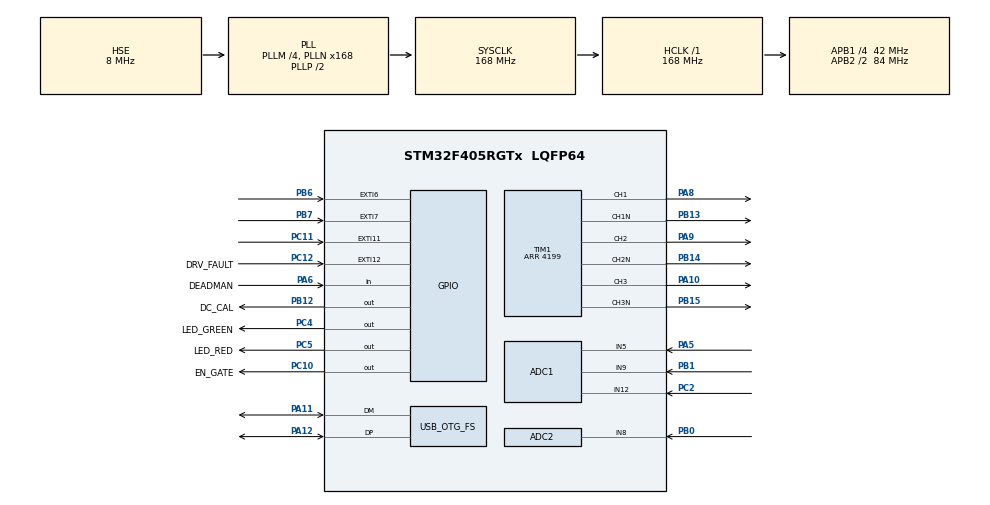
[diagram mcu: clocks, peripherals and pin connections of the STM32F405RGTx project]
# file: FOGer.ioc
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ADC1.Channel-0\#ChannelRegularConversion=ADC_CHANNEL_5
ADC1.Channel-1\#ChannelInjectedConversion=ADC_CHANNEL_9
ADC1.Channel-3\#ChannelRegularConversion=ADC_CHANNEL_12
ADC1.ExternalTrigInjecConv=ADC_EXTERNALTRIGINJECCONV_T1_CC4
ADC1.InjNumberOfConversion=1
ADC1.InjectedOffset-1\#ChannelInjectedConversion=0
ADC1.InjectedRank-1\#ChannelInjectedConversion=1
ADC1.NbrOfConversion=2
ADC1.NbrOfConversionFlag=1
ADC1.Rank-0\#ChannelRegularConversion=1
ADC1.Rank-3\#ChannelRegularConversion=2
ADC1.SamplingTime-0\#ChannelRegularConversion=ADC_SAMPLETIME_84CYCLES
ADC1.SamplingTime-1\#ChannelInjectedConversion=ADC_SAMPLETIME_15CYCLES
ADC1.SamplingTime-3\#ChannelRegularConversion=ADC_SAMPLETIME_84CYCLES
ADC1.master=1
ADC2.Channel-0\#ChannelRegularConversion=ADC_CHANNEL_8
ADC2.Channel-1\#ChannelInjectedConversion=ADC_CHANNEL_8
ADC2.ExternalTrigInjecConv=ADC_EXTERNALTRIGINJECCONV_T1_CC4
ADC2.InjNumberOfConversion=1
ADC2.InjectedOffset-1\#ChannelInjectedConversion=0
ADC2.InjectedRank-1\#ChannelInjectedConversion=1
ADC2.NbrOfConversionFlag=1
ADC2.Rank-0\#ChannelRegularConversion=1
ADC2.SamplingTime-0\#ChannelRegularConversion=ADC_SAMPLETIME_3CYCLES
ADC2.SamplingTime-1\#ChannelInjectedConversion=ADC_SAMPLETIME_3CYCLES
Mcu.Family=STM32F4
Mcu.Name=STM32F405RGTx
Mcu.Package=LQFP64
NVIC.ADC_IRQn=true\:0\:0\:false\:false\:true\:true\:true\:true
NVIC.EXTI15_10_IRQn=true\:1\:0\:true\:false\:true\:true\:true\:true
NVIC.EXTI9_5_IRQn=true\:1\:0\:true\:false\:true\:true\:true\:true
NVIC.OTG_FS_IRQn=true\:5\:0\:true\:false\:true\:false\:true\:true
NVIC.PriorityGroup=NVIC_PRIORITYGROUP_4
NVIC.TIM6_DAC_IRQn=true\:15\:0\:false\:false\:true\:false\:true\:true
NVIC.TimeBase=TIM6_DAC_IRQn
NVIC.TimeBaseIP=TIM6
PA10.Signal=S_TIM1_CH3
PA11.Mode=Device_Only
PA11.Signal=USB_OTG_FS_DM
PA12.Mode=Device_Only
PA12.Signal=USB_OTG_FS_DP
PA13.Mode=Serial_Wire
PA13.Signal=SYS_JTMS-SWDIO
PA14.Mode=Serial_Wire
PA14.Signal=SYS_JTCK-SWCLK
PA5.Signal=ADCx_IN5
PA6.GPIO_Label=DEADMAN
PA6.Signal=GPIO_Input
PA8.Signal=S_TIM1_CH1
PA9.Signal=S_TIM1_CH2
PB0.Signal=ADCx_IN8
PB1.Signal=ADCx_IN9
PB12.GPIO_Label=DC_CAL
PB12.Signal=GPIO_Output
PB13.Mode=PWM Generation1 CH1 CH1N
PB13.Signal=TIM1_CH1N
PB14.Mode=PWM Generation2 CH2 CH2N
PB14.Signal=TIM1_CH2N
PB15.Mode=PWM Generation3 CH3 CH3N
PB15.Signal=TIM1_CH3N
PB6.GPIO_ModeDefaultEXTI=GPIO_MODE_IT_RISING_FALLING
PB6.Signal=GPXTI6
PB7.GPIO_ModeDefaultEXTI=GPIO_MODE_IT_RISING_FALLING
PB7.Signal=GPXTI7
PC10.GPIO_Label=EN_GATE
PC10.Signal=GPIO_Output
PC11.GPIO_ModeDefaultEXTI=GPIO_MODE_IT_RISING_FALLING
PC11.Signal=GPXTI11
PC12.GPIO_Label=DRV_FAULT
PC12.GPIO_ModeDefaultEXTI=GPIO_MODE_IT_FALLING
PC12.GPIO_PuPd=GPIO_PULLUP
PC12.Signal=GPXTI12
PC2.Signal=ADCx_IN12
PC4.GPIO_Label=LED_GREEN
PC4.Signal=GPIO_Output
PC5.GPIO_Label=LED_RED
PC5.Signal=GPIO_Output
PH0-OSC_IN.Mode=HSE-External-Oscillator
PH0-OSC_IN.Signal=RCC_OSC_IN
PH1-OSC_OUT.Mode=HSE-External-Oscillator
PH1-OSC_OUT.Signal=RCC_OSC_OUT
ProjectManager.HeapSize=0x600
ProjectManager.StackSize=0x1000
ProjectManager.TargetToolchain=STM32CubeIDE
RCC.48MHZClocksFreq_Value=48000000
RCC.AHBFreq_Value=168000000
RCC.APB1CLKDivider=RCC_HCLK_DIV4
RCC.APB1Freq_Value=42000000
RCC.APB1TimFreq_Value=84000000
RCC.APB2CLKDivider=RCC_HCLK_DIV2
RCC.APB2Freq_Value=84000000
RCC.APB2TimFreq_Value=168000000
RCC.CortexFreq_Value=168000000
RCC.HCLKFreq_Value=168000000
RCC.HSE_VALUE=8000000
RCC.HSI_VALUE=16000000
RCC.LSE_VALUE=32768
RCC.PLLM=4
RCC.PLLN=168
RCC.PLLQ=7
RCC.SYSCLKFreq_VALUE=168000000
RCC.SYSCLKSource=RCC_SYSCLKSOURCE_PLLCLK
RCC.VCOOutputFreq_Value=336000000
SH.ADCx_IN12.0=ADC1_IN12,IN12
SH.ADCx_IN5.0=ADC1_IN5,IN5
SH.ADCx_IN8.0=ADC1_IN8
SH.ADCx_IN8.1=ADC2_IN8,IN8
SH.ADCx_IN9.0=ADC1_IN9,IN9
SH.S_TIM1_CH1.0=TIM1_CH1,PWM Generation1 CH1 CH1N
SH.S_TIM1_CH2.0=TIM1_CH2,PWM Generation2 CH2 CH2N
SH.S_TIM1_CH3.0=TIM1_CH3,PWM Generation3 CH3 CH3N
TIM1.Channel-PWM\ Generation1\ CH1\ CH1N=TIM_CHANNEL_1
TIM1.Channel-PWM\ Generation2\ CH2\ CH2N=TIM_CHANNEL_2
TIM1.Channel-PWM\ Generation3\ CH3\ CH3N=TIM_CHANNEL_3
TIM1.Channel-PWM\ Generation4\ No\ Output=TIM_CHANNEL_4
TIM1.CounterMode=TIM_COUNTERMODE_CENTERALIGNED1
TIM1.DeadTime=50
TIM1.Period=4199
TIM1.Pulse-PWM\ Generation4\ No\ Output=4190
TIM1.RepetitionCounter=1
TIM2.Prescaler=83
USB_DEVICE.CLASS_NAME_FS=CDC
USB_DEVICE.VirtualMode-CDC_FS=Cdc
USB_DEVICE.VirtualModeFS=Cdc_FS
USB_OTG_FS.VirtualMode=Device_Only
VP_SYS_VS_tim6.Mode=TIM6
VP_TIM1_VS_no_output4.Mode=PWM Generation4 No Output
VP_TIM2_VS_ClockSourceINT.Mode=Internal
VP_USB_DEVICE_VS_USB_DEVICE_CDC_FS.Mode=CDC_FS
board=custom

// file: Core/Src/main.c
/* USER CODE BEGIN Header */
/**
  ******************************************************************************
  * @file           : main.c
  * @brief          : Main program body
  ******************************************************************************
  * @attention
  *
  * Copyright (c) 2026 STMicroelectronics.
  * All rights reserved.
  *
  * This software is licensed under terms that can be found in the LICENSE file
  * in the root directory of this software component.
  * If no LICENSE file comes with this software, it is provided AS-IS.
  *
  ******************************************************************************
  */
/* USER CODE END Header */
#include "main.h"
#include "usb_device.h"

/* USER CODE BEGIN Includes */
#include "main.h"
#include "usb_device.h"
#include "usbd_cdc_if.h" // For CDC_Transmit_FS
#include "arm_math.h"
#include <stdbool.h>
#include <stdio.h>       // For snprintf
/* USER CODE END Includes */

ADC_HandleTypeDef hadc1;
ADC_HandleTypeDef hadc2;

TIM_HandleTypeDef htim1;
TIM_HandleTypeDef htim2;

/* USER CODE BEGIN PV */
extern volatile bool hardware_fault_latched;
extern volatile float32_t current_vbus_v;
extern volatile float32_t system_max_voltage;
extern volatile float32_t target_Id;
extern volatile float32_t target_Iq;
extern volatile float32_t offset_a;
extern volatile float32_t offset_c;

extern volatile float32_t I_q;
extern volatile float32_t I_d;
extern volatile float current_velocity_rad_s;
extern volatile float base_electrical_angle;

volatile float serial_commanded_current = 0.0f; // Stores the USB input

/* USER CODE END PV */

void SystemClock_Config(void);
static void MX_GPIO_Init(void);
static void MX_ADC1_Init(void);
static void MX_TIM1_Init(void);
static void MX_ADC2_Init(void);
static void MX_TIM2_Init(void);

int main(void)
{

  /* MCU Configuration--------------------------------------------------------*/

  /* Reset of all peripherals, Initializes the Flash interface and the Systick. */
  HAL_Init();

  /* Configure the system clock */
  SystemClock_Config();

  /* Initialize all configured peripherals */
  MX_GPIO_Init();
  MX_ADC1_Init();
  MX_TIM1_Init();
  MX_USB_DEVICE_Init();
  MX_ADC2_Init();
  MX_TIM2_Init();
  /* USER CODE BEGIN 2 */
  // 1. Enable Gate Driver
  HAL_GPIO_WritePin(EN_GATE_GPIO_Port, EN_GATE_Pin, GPIO_PIN_SET);
  HAL_Delay(10);

  // 2. Start ADCs
  HAL_ADCEx_InjectedStart(&hadc1);
  HAL_ADCEx_InjectedStart(&hadc2);

  // ==========================================
  // 3. DC CALIBRATION (Find true 0-Amp midpoint)
  // ==========================================
  HAL_GPIO_WritePin(EN_GATE_GPIO_Port, EN_GATE_Pin, GPIO_PIN_RESET);
  HAL_GPIO_WritePin(DC_CAL_GPIO_Port, DC_CAL_Pin, GPIO_PIN_SET);
  HAL_Delay(10);

  // CRITICAL FIX: Temporarily disable hardware triggers (JEXTEN = 00)
  // so the ADC respects our software JSWSTART command!
  hadc1.Instance->CR2 &= ~ADC_CR2_JEXTEN;
  hadc2.Instance->CR2 &= ~ADC_CR2_JEXTEN;

  uint32_t sum_a = 0, sum_c = 0;
  for(int i = 0; i < 1000; i++) {
	// Clear the JEOC flags BEFORE starting the conversion
	hadc1.Instance->SR = ~(ADC_SR_JEOC);
	hadc2.Instance->SR = ~(ADC_SR_JEOC);

	// Trigger BOTH ADCs manually
	SET_BIT(hadc1.Instance->CR2, ADC_CR2_JSWSTART);
	SET_BIT(hadc2.Instance->CR2, ADC_CR2_JSWSTART);

	while (!(hadc1.Instance->SR & ADC_SR_JEOC)) {}
	while (!(hadc2.Instance->SR & ADC_SR_JEOC)) {}

	sum_a += HAL_ADCEx_InjectedGetValue(&hadc1, ADC_INJECTED_RANK_1);
	sum_c += HAL_ADCEx_InjectedGetValue(&hadc2, ADC_INJECTED_RANK_1);
	HAL_Delay(1);
  }

  extern volatile float32_t offset_a;
  extern volatile float32_t offset_c;
  offset_a = (float32_t)sum_a / 1000.0f;
  offset_c = (float32_t)sum_c / 1000.0f;

  HAL_GPIO_WritePin(DC_CAL_GPIO_Port, DC_CAL_Pin, GPIO_PIN_RESET);
  HAL_GPIO_WritePin(EN_GATE_GPIO_Port, EN_GATE_Pin, GPIO_PIN_SET);
  HAL_Delay(10);

  // ==========================================
  // 4. INITIALIZE PWM AND HARDWARE TIMERS
  // ==========================================
  // Pre-center the PWM registers at 50% (0V output) before turning them on
  TIM1->CCR1 = 2099;
  TIM1->CCR2 = 2099;
  TIM1->CCR3 = 2099;

  HAL_TIM_PWM_Start(&htim1, TIM_CHANNEL_1);
  HAL_TIMEx_PWMN_Start(&htim1, TIM_CHANNEL_1);
  HAL_TIM_PWM_Start(&htim1, TIM_CHANNEL_2);
  HAL_TIMEx_PWMN_Start(&htim1, TIM_CHANNEL_2);
  HAL_TIM_PWM_Start(&htim1, TIM_CHANNEL_3);
  HAL_TIMEx_PWMN_Start(&htim1, TIM_CHANNEL_3);

  extern void Init_Rotor_Angle(void);
  Init_Rotor_Angle();
  HAL_TIM_Base_Start(&htim2);

  // ==========================================
  // 5. ARM THE FOC LOOP
  // ==========================================
  // CRITICAL FIX: Restore the hardware triggers to Rising Edge (JEXTEN = 01)
  // so TIM1_CC4 can physically trigger the ADCs again.
  hadc1.Instance->CR2 |= ADC_EXTERNALTRIGINJECCONVEDGE_RISING;
  hadc2.Instance->CR2 |= ADC_EXTERNALTRIGINJECCONVEDGE_RISING;

  // Stop the ADCs from software mode, then restart them in Hardware Trigger mode
  HAL_ADC_Stop(&hadc1);
  HAL_ADC_Stop(&hadc2);
  HAL_ADCEx_InjectedStart(&hadc2);
  HAL_ADCEx_InjectedStart_IT(&hadc1);       // ARMS THE 20kHz INTERRUPT
  HAL_TIM_PWM_Start(&htim1, TIM_CHANNEL_4); // STARTS FIRING THE ADC TRIGGER
  /* USER CODE END 2 */

  /* Infinite loop */
  /* USER CODE BEGIN WHILE */
  while (1)
  {
	uint16_t raw_throttle = 0;
	uint16_t raw_vbus = 0;
	// ========================================================
	// 1. POLL REGULAR ADC CHANNELS (Register-Level Multiplexing)
	// ========================================================
	uint32_t timeout;

	// Force the Sequence Length to exactly 1 conversion
	hadc1.Instance->SQR1 &= ~ADC_SQR1_L;

	// --- Read Throttle (Channel 5) ---
	hadc1.Instance->SQR3 = 5; // Tell the sequencer to only look at CH5
	SET_BIT(hadc1.Instance->CR2, ADC_CR2_SWSTART);

	timeout = 20000;
	while (!(hadc1.Instance->SR & ADC_SR_EOC) && --timeout) {}

	if (timeout > 0) {
	  raw_throttle = hadc1.Instance->DR;
	} else {
	  hadc1.Instance->SR = ~ADC_SR_OVR; // Clear Overrun if interrupted
	}

	// --- Read Battery Voltage (Channel 12) ---
	hadc1.Instance->SQR3 = 12; // Tell the sequencer to only look at CH12
	SET_BIT(hadc1.Instance->CR2, ADC_CR2_SWSTART);

	timeout = 20000;
	while (!(hadc1.Instance->SR & ADC_SR_EOC) && --timeout) {}

	if (timeout > 0) {
	  raw_vbus = hadc1.Instance->DR;

	  float32_t instant_vbus = (float32_t)raw_vbus * 0.015091f;
	  current_vbus_v = (current_vbus_v * 0.99f) + (instant_vbus * 0.01f);
	  system_max_voltage = current_vbus_v / 1.73205081f;
	} else {
	  hadc1.Instance->SR = ~ADC_SR_OVR;
	}

	// ========================================================
	// 3. THROTTLE MAPPING & SAFETY INTERLOCKS
	// ========================================================
	// TEST FLAGS: Change these during development
	bool bypass_deadman = true;

	static uint32_t fault_timer = 0;
	static bool in_fault_recovery = false;

	uint8_t deadman_pressed = (HAL_GPIO_ReadPin(DEADMAN_GPIO_Port, DEADMAN_Pin) == GPIO_PIN_RESET) || bypass_deadman;
	uint8_t voltage_safe = (current_vbus_v > 40.0f && current_vbus_v < 55.0f);

	// --- SCENARIO 1: HARDWARE FAULT DETECTED ---
	// We now read our software latch instead of the physical pin!
	uint8_t drv_faulted = hardware_fault_latched;

	if (drv_faulted || in_fault_recovery)
	{
	  target_Iq = 0.0f; // Immediately kill software torque
	  HAL_GPIO_WritePin(LED_GREEN_GPIO_Port, LED_GREEN_Pin, GPIO_PIN_RESET);
	  HAL_GPIO_WritePin(LED_RED_GPIO_Port, LED_RED_Pin, GPIO_PIN_SET);

	  if (!in_fault_recovery) {
		  fault_timer = HAL_GetTick();
		  in_fault_recovery = true;
	  }
	  else if (HAL_GetTick() - fault_timer > 2000) {

		  extern void Reset_FOC_Integrators(void);
		  Reset_FOC_Integrators();

		  extern void Init_Rotor_Angle(void);
		  Init_Rotor_Angle();

		  // --- WAKE UP SEQUENCE ---
		  hardware_fault_latched = false;                 // 1. Clear the latch
		  TIM1->BDTR |= TIM_BDTR_MOE;                     // 2. Restore PWM outputs
		  HAL_GPIO_WritePin(EN_GATE_GPIO_Port, EN_GATE_Pin, GPIO_PIN_SET); // 3. Enable Gates

		  in_fault_recovery = false;
	  }
	}
	// --- SCENARIO 2: SYSTEM NORMAL & ARMED ---
	else if (deadman_pressed && voltage_safe)
	{
	  HAL_GPIO_WritePin(LED_GREEN_GPIO_Port, LED_GREEN_Pin, GPIO_PIN_SET);
	  HAL_GPIO_WritePin(LED_RED_GPIO_Port, LED_RED_Pin, GPIO_PIN_RESET);

	  /* --- TEMPORARILY DISABLED FOR SERIAL BENCH TEST ---
	  float32_t commanded_current = 0.0f;
	  if (raw_throttle > 1000) {
		  commanded_current = ((float32_t)(raw_throttle - 1000) / 2000.0f) * 20.0f;
		  if (commanded_current > 20.0f) commanded_current = 20.0f;
	  }
	  target_Iq = commanded_current;
	  --------------------------------------------------- */

	  target_Iq = serial_commanded_current; // Feed FOC from USB instead
	}
	// --- SCENARIO 3: SYSTEM SAFE (IDLE) ---
	else
	{
	  HAL_GPIO_WritePin(LED_GREEN_GPIO_Port, LED_GREEN_Pin, GPIO_PIN_RESET);
	  HAL_GPIO_WritePin(LED_RED_GPIO_Port, LED_RED_Pin, GPIO_PIN_SET);
	  target_Iq = 0.0f;
	}
	// ========================================================
	// 4. USB TELEMETRY STREAM (10Hz)
	// ========================================================
	static uint32_t last_print_time = 0;

	// Print every 100ms so it is readable by a human
	if (HAL_GetTick() - last_print_time >= 100)
	{
	  last_print_time = HAL_GetTick();

	  // Create a character buffer to hold the formatted string
	  static char telemetry_buffer[128];

	  // Format the string with your live FOC metrics
	  // \r\n acts as the "Enter" key for the serial terminal
	  uint16_t len = snprintf(telemetry_buffer, sizeof(telemetry_buffer),
							  "Vbus:%5.1fV | RPM:%6.0f | Tgt:%5.2fA | Iq:%5.2fA | Id:%5.2fA\r\n",
							  current_vbus_v,
							  (current_velocity_rad_s * 9.549297f) / POLE_PAIRS, // Convert rad/s to mechanical RPM
							  target_Iq,
							  I_q,
							  I_d);

	  // Fire it out of the USB port
	  CDC_Transmit_FS((uint8_t*)telemetry_buffer, len);
	}
	// Run the main loop at roughly 100Hz (10ms).
	// This saves CPU power. The FOC interrupt still runs perfectly at 20kHz!
	HAL_Delay(10);
    /* USER CODE END WHILE */

  }
}

void SystemClock_Config(void)
{
  RCC_OscInitTypeDef RCC_OscInitStruct = {0};
  RCC_ClkInitTypeDef RCC_ClkInitStruct = {0};

  /** Configure the main internal regulator output voltage
  */
  __HAL_RCC_PWR_CLK_ENABLE();
  __HAL_PWR_VOLTAGESCALING_CONFIG(PWR_REGULATOR_VOLTAGE_SCALE1);

  /** Initializes the RCC Oscillators according to the specified parameters
  * in the RCC_OscInitTypeDef structure.
  */
  RCC_OscInitStruct.OscillatorType = RCC_OSCILLATORTYPE_HSE;
  RCC_OscInitStruct.HSEState = RCC_HSE_ON;
  RCC_OscInitStruct.PLL.PLLState = RCC_PLL_ON;
  RCC_OscInitStruct.PLL.PLLSource = RCC_PLLSOURCE_HSE;
  RCC_OscInitStruct.PLL.PLLM = 4;
  RCC_OscInitStruct.PLL.PLLN = 168;
  RCC_OscInitStruct.PLL.PLLP = RCC_PLLP_DIV2;
  RCC_OscInitStruct.PLL.PLLQ = 7;
  if (HAL_RCC_OscConfig(&RCC_OscInitStruct) != HAL_OK)
  {
    Error_Handler();
  }

  /** Initializes the CPU, AHB and APB buses clocks
  */
  RCC_ClkInitStruct.ClockType = RCC_CLOCKTYPE_HCLK|RCC_CLOCKTYPE_SYSCLK
                              |RCC_CLOCKTYPE_PCLK1|RCC_CLOCKTYPE_PCLK2;
  RCC_ClkInitStruct.SYSCLKSource = RCC_SYSCLKSOURCE_PLLCLK;
  RCC_ClkInitStruct.AHBCLKDivider = RCC_SYSCLK_DIV1;
  RCC_ClkInitStruct.APB1CLKDivider = RCC_HCLK_DIV4;
  RCC_ClkInitStruct.APB2CLKDivider = RCC_HCLK_DIV2;

  if (HAL_RCC_ClockConfig(&RCC_ClkInitStruct, FLASH_LATENCY_5) != HAL_OK)
  {
    Error_Handler();
  }
}

static void MX_ADC1_Init(void)
{

  ADC_ChannelConfTypeDef sConfig = {0};
  ADC_InjectionConfTypeDef sConfigInjected = {0};

  /** Configure the global features of the ADC (Clock, Resolution, Data Alignment and number of conversion)
  */
  hadc1.Instance = ADC1;
  hadc1.Init.ClockPrescaler = ADC_CLOCK_SYNC_PCLK_DIV4;
  hadc1.Init.Resolution = ADC_RESOLUTION_12B;
  hadc1.Init.ScanConvMode = ENABLE;
  hadc1.Init.ContinuousConvMode = DISABLE;
  hadc1.Init.DiscontinuousConvMode = DISABLE;
  hadc1.Init.ExternalTrigConvEdge = ADC_EXTERNALTRIGCONVEDGE_NONE;
  hadc1.Init.ExternalTrigConv = ADC_SOFTWARE_START;
  hadc1.Init.DataAlign = ADC_DATAALIGN_RIGHT;
  hadc1.Init.NbrOfConversion = 2;
  hadc1.Init.DMAContinuousRequests = DISABLE;
  hadc1.Init.EOCSelection = ADC_EOC_SINGLE_CONV;
  if (HAL_ADC_Init(&hadc1) != HAL_OK)
  {
    Error_Handler();
  }

  /** Configure for the selected ADC regular channel its corresponding rank in the sequencer and its sample time.
  */
  sConfig.Channel = ADC_CHANNEL_5;
  sConfig.Rank = 1;
  sConfig.SamplingTime = ADC_SAMPLETIME_84CYCLES;
  if (HAL_ADC_ConfigChannel(&hadc1, &sConfig) != HAL_OK)
  {
    Error_Handler();
  }

  /** Configure for the selected ADC regular channel its corresponding rank in the sequencer and its sample time.
  */
  sConfig.Channel = ADC_CHANNEL_12;
  sConfig.Rank = 2;
  if (HAL_ADC_ConfigChannel(&hadc1, &sConfig) != HAL_OK)
  {
    Error_Handler();
  }

  /** Configures for the selected ADC injected channel its corresponding rank in the sequencer and its sample time
  */
  sConfigInjected.InjectedChannel = ADC_CHANNEL_9;
  sConfigInjected.InjectedRank = 1;
  sConfigInjected.InjectedNbrOfConversion = 1;
  sConfigInjected.InjectedSamplingTime = ADC_SAMPLETIME_15CYCLES;
  sConfigInjected.ExternalTrigInjecConvEdge = ADC_EXTERNALTRIGINJECCONVEDGE_RISING;
  sConfigInjected.ExternalTrigInjecConv = ADC_EXTERNALTRIGINJECCONV_T1_CC4;
  sConfigInjected.AutoInjectedConv = DISABLE;
  sConfigInjected.InjectedDiscontinuousConvMode = DISABLE;
  sConfigInjected.InjectedOffset = 0;
  if (HAL_ADCEx_InjectedConfigChannel(&hadc1, &sConfigInjected) != HAL_OK)
  {
    Error_Handler();
  }

}

static void MX_ADC2_Init(void)
{

  ADC_ChannelConfTypeDef sConfig = {0};
  ADC_InjectionConfTypeDef sConfigInjected = {0};

  /** Configure the global features of the ADC (Clock, Resolution, Data Alignment and number of conversion)
  */
  hadc2.Instance = ADC2;
  hadc2.Init.ClockPrescaler = ADC_CLOCK_SYNC_PCLK_DIV4;
  hadc2.Init.Resolution = ADC_RESOLUTION_12B;
  hadc2.Init.ScanConvMode = DISABLE;
  hadc2.Init.ContinuousConvMode = DISABLE;
  hadc2.Init.DiscontinuousConvMode = DISABLE;
  hadc2.Init.ExternalTrigConvEdge = ADC_EXTERNALTRIGCONVEDGE_NONE;
  hadc2.Init.ExternalTrigConv = ADC_SOFTWARE_START;
  hadc2.Init.DataAlign = ADC_DATAALIGN_RIGHT;
  hadc2.Init.NbrOfConversion = 1;
  hadc2.Init.DMAContinuousRequests = DISABLE;
  hadc2.Init.EOCSelection = ADC_EOC_SINGLE_CONV;
  if (HAL_ADC_Init(&hadc2) != HAL_OK)
  {
    Error_Handler();
  }

  /** Configure for the selected ADC regular channel its corresponding rank in the sequencer and its sample time.
  */
  sConfig.Channel = ADC_CHANNEL_8;
  sConfig.Rank = 1;
  sConfig.SamplingTime = ADC_SAMPLETIME_3CYCLES;
  if (HAL_ADC_ConfigChannel(&hadc2, &sConfig) != HAL_OK)
  {
    Error_Handler();
  }

  /** Configures for the selected ADC injected channel its corresponding rank in the sequencer and its sample time
  */
  sConfigInjected.InjectedChannel = ADC_CHANNEL_8;
  sConfigInjected.InjectedRank = 1;
  sConfigInjected.InjectedNbrOfConversion = 1;
  sConfigInjected.InjectedSamplingTime = ADC_SAMPLETIME_3CYCLES;
  sConfigInjected.ExternalTrigInjecConvEdge = ADC_EXTERNALTRIGINJECCONVEDGE_RISING;
  sConfigInjected.ExternalTrigInjecConv = ADC_EXTERNALTRIGINJECCONV_T1_CC4;
  sConfigInjected.AutoInjectedConv = DISABLE;
  sConfigInjected.InjectedDiscontinuousConvMode = DISABLE;
  sConfigInjected.InjectedOffset = 0;
  if (HAL_ADCEx_InjectedConfigChannel(&hadc2, &sConfigInjected) != HAL_OK)
  {
    Error_Handler();
  }

}

static void MX_TIM1_Init(void)
{

  TIM_MasterConfigTypeDef sMasterConfig = {0};
  TIM_OC_InitTypeDef sConfigOC = {0};
  TIM_BreakDeadTimeConfigTypeDef sBreakDeadTimeConfig = {0};

  htim1.Instance = TIM1;
  htim1.Init.Prescaler = 0;
  htim1.Init.CounterMode = TIM_COUNTERMODE_CENTERALIGNED1;
  htim1.Init.Period = 4199;
  htim1.Init.ClockDivision = TIM_CLOCKDIVISION_DIV1;
  htim1.Init.RepetitionCounter = 1;
  htim1.Init.AutoReloadPreload = TIM_AUTORELOAD_PRELOAD_DISABLE;
  if (HAL_TIM_PWM_Init(&htim1) != HAL_OK)
  {
    Error_Handler();
  }
  sMasterConfig.MasterOutputTrigger = TIM_TRGO_RESET;
  sMasterConfig.MasterSlaveMode = TIM_MASTERSLAVEMODE_DISABLE;
  if (HAL_TIMEx_MasterConfigSynchronization(&htim1, &sMasterConfig) != HAL_OK)
  {
    Error_Handler();
  }
  sConfigOC.OCMode = TIM_OCMODE_PWM1;
  sConfigOC.Pulse = 0;
  sConfigOC.OCPolarity = TIM_OCPOLARITY_HIGH;
  sConfigOC.OCNPolarity = TIM_OCNPOLARITY_HIGH;
  sConfigOC.OCFastMode = TIM_OCFAST_DISABLE;
  sConfigOC.OCIdleState = TIM_OCIDLESTATE_RESET;
  sConfigOC.OCNIdleState = TIM_OCNIDLESTATE_RESET;
  if (HAL_TIM_PWM_ConfigChannel(&htim1, &sConfigOC, TIM_CHANNEL_1) != HAL_OK)
  {
    Error_Handler();
  }
  if (HAL_TIM_PWM_ConfigChannel(&htim1, &sConfigOC, TIM_CHANNEL_2) != HAL_OK)
  {
    Error_Handler();
  }
  if (HAL_TIM_PWM_ConfigChannel(&htim1, &sConfigOC, TIM_CHANNEL_3) != HAL_OK)
  {
    Error_Handler();
  }
  sConfigOC.Pulse = 4190;
  if (HAL_TIM_PWM_ConfigChannel(&htim1, &sConfigOC, TIM_CHANNEL_4) != HAL_OK)
  {
    Error_Handler();
  }
  sBreakDeadTimeConfig.OffStateRunMode = TIM_OSSR_DISABLE;
  sBreakDeadTimeConfig.OffStateIDLEMode = TIM_OSSI_DISABLE;
  sBreakDeadTimeConfig.LockLevel = TIM_LOCKLEVEL_OFF;
  sBreakDeadTimeConfig.DeadTime = 50;
  sBreakDeadTimeConfig.BreakState = TIM_BREAK_DISABLE;
  sBreakDeadTimeConfig.BreakPolarity = TIM_BREAKPOLARITY_HIGH;
  sBreakDeadTimeConfig.AutomaticOutput = TIM_AUTOMATICOUTPUT_DISABLE;
  if (HAL_TIMEx_ConfigBreakDeadTime(&htim1, &sBreakDeadTimeConfig) != HAL_OK)
  {
    Error_Handler();
  }
  HAL_TIM_MspPostInit(&htim1);

}

static void MX_TIM2_Init(void)
{

  TIM_ClockConfigTypeDef sClockSourceConfig = {0};
  TIM_MasterConfigTypeDef sMasterConfig = {0};

  htim2.Instance = TIM2;
  htim2.Init.Prescaler = 83;
  htim2.Init.CounterMode = TIM_COUNTERMODE_UP;
  htim2.Init.Period = 4294967295;
  htim2.Init.ClockDivision = TIM_CLOCKDIVISION_DIV1;
  htim2.Init.AutoReloadPreload = TIM_AUTORELOAD_PRELOAD_DISABLE;
  if (HAL_TIM_Base_Init(&htim2) != HAL_OK)
  {
    Error_Handler();
  }
  sClockSourceConfig.ClockSource = TIM_CLOCKSOURCE_INTERNAL;
  if (HAL_TIM_ConfigClockSource(&htim2, &sClockSourceConfig) != HAL_OK)
  {
    Error_Handler();
  }
  sMasterConfig.MasterOutputTrigger = TIM_TRGO_RESET;
  sMasterConfig.MasterSlaveMode = TIM_MASTERSLAVEMODE_DISABLE;
  if (HAL_TIMEx_MasterConfigSynchronization(&htim2, &sMasterConfig) != HAL_OK)
  {
    Error_Handler();
  }

}

static void MX_GPIO_Init(void)
{
  GPIO_InitTypeDef GPIO_InitStruct = {0};

  /* GPIO Ports Clock Enable */
  __HAL_RCC_GPIOH_CLK_ENABLE();
  __HAL_RCC_GPIOC_CLK_ENABLE();
  __HAL_RCC_GPIOA_CLK_ENABLE();
  __HAL_RCC_GPIOB_CLK_ENABLE();

  /*Configure GPIO pin Output Level */
  HAL_GPIO_WritePin(GPIOC, LED_GREEN_Pin|LED_RED_Pin|EN_GATE_Pin, GPIO_PIN_RESET);

  /*Configure GPIO pin Output Level */
  HAL_GPIO_WritePin(DC_CAL_GPIO_Port, DC_CAL_Pin, GPIO_PIN_RESET);

  /*Configure GPIO pin : DEADMAN_Pin */
  GPIO_InitStruct.Pin = DEADMAN_Pin;
  GPIO_InitStruct.Mode = GPIO_MODE_INPUT;
  GPIO_InitStruct.Pull = GPIO_NOPULL;
  HAL_GPIO_Init(DEADMAN_GPIO_Port, &GPIO_InitStruct);

  /*Configure GPIO pins : LED_GREEN_Pin LED_RED_Pin EN_GATE_Pin */
  GPIO_InitStruct.Pin = LED_GREEN_Pin|LED_RED_Pin|EN_GATE_Pin;
  GPIO_InitStruct.Mode = GPIO_MODE_OUTPUT_PP;
  GPIO_InitStruct.Pull = GPIO_NOPULL;
  GPIO_InitStruct.Speed = GPIO_SPEED_FREQ_LOW;
  HAL_GPIO_Init(GPIOC, &GPIO_InitStruct);

  /*Configure GPIO pin : DC_CAL_Pin */
  GPIO_InitStruct.Pin = DC_CAL_Pin;
  GPIO_InitStruct.Mode = GPIO_MODE_OUTPUT_PP;
  GPIO_InitStruct.Pull = GPIO_NOPULL;
  GPIO_InitStruct.Speed = GPIO_SPEED_FREQ_LOW;
  HAL_GPIO_Init(DC_CAL_GPIO_Port, &GPIO_InitStruct);

  /*Configure GPIO pin : PC11 */
  GPIO_InitStruct.Pin = GPIO_PIN_11;
  GPIO_InitStruct.Mode = GPIO_MODE_IT_RISING_FALLING;
  GPIO_InitStruct.Pull = GPIO_NOPULL;
  HAL_GPIO_Init(GPIOC, &GPIO_InitStruct);

  /*Configure GPIO pin : DRV_FAULT_Pin */
  GPIO_InitStruct.Pin = DRV_FAULT_Pin;
  GPIO_InitStruct.Mode = GPIO_MODE_IT_FALLING;
  GPIO_InitStruct.Pull = GPIO_PULLUP;
  HAL_GPIO_Init(DRV_FAULT_GPIO_Port, &GPIO_InitStruct);

  /*Configure GPIO pins : PB6 PB7 */
  GPIO_InitStruct.Pin = GPIO_PIN_6|GPIO_PIN_7;
  GPIO_InitStruct.Mode = GPIO_MODE_IT_RISING_FALLING;
  GPIO_InitStruct.Pull = GPIO_NOPULL;
  HAL_GPIO_Init(GPIOB, &GPIO_InitStruct);

  /* EXTI interrupt init*/
  HAL_NVIC_SetPriority(EXTI9_5_IRQn, 1, 0);
  HAL_NVIC_EnableIRQ(EXTI9_5_IRQn);

  HAL_NVIC_SetPriority(EXTI15_10_IRQn, 1, 0);
  HAL_NVIC_EnableIRQ(EXTI15_10_IRQn);

}

void HAL_TIM_PeriodElapsedCallback(TIM_HandleTypeDef *htim)
{
  if (htim->Instance == TIM6)
  {
    HAL_IncTick();
  }
}

void Error_Handler(void)
{
  __disable_irq();
  while (1)
  {
  }
}
